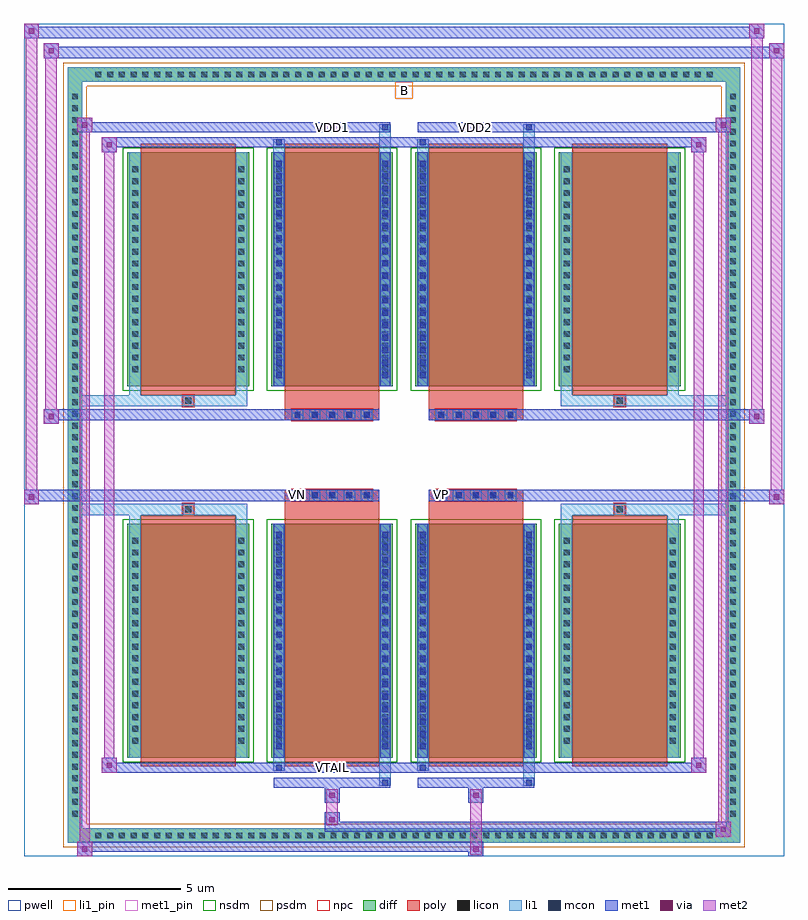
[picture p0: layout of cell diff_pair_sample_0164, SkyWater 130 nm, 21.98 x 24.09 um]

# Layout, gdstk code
import gdstk
lib = gdstk.Library(unit=1e-6, precision=5e-09)
def R(c, l, rs):  # rectangles x0, y0, x1, y1
    for r in rs: c.add(gdstk.rectangle(r[:2], r[2:], *l))
def A(c, l, x, y, w, h, nx, ny, dx, dy):  # array of equal rectangles
    R(c, l, [(x+i*dx, y+j*dy, x+i*dx+w, y+j*dy+h) for i in range(nx) for j in range(ny)])
def P(c, l, *ps):  # polygons
    for p in ps: c.add(gdstk.Polygon(p, *l))
pwell = (64, 44)
diff = (65, 20)
poly = (66, 20)
licon = (66, 44)
li1_pin = (67, 16)
li1 = (67, 20)
mcon = (67, 44)
met1_pin = (68, 16)
met1 = (68, 20)
via = (68, 44)
met2 = (69, 20)
nsdm = (93, 44)
psdm = (94, 20)
npc = (95, 20)

diff_pair_sample_0164 = lib.new_cell('diff_pair_sample_0164')
R(diff_pair_sample_0164, pwell, [(-10.99,-11.61,10.99,12.48), (-8.31,-9.8,-0.01,-0.8), (0.01,-9.8,8.31,-0.8), (-8.31,0.8,-0.01,9.8), (0.01,0.8,8.31,9.8)])
A(diff_pair_sample_0164, diff, -9.045, -11.21, 0.41, 0.41, 53, 2, 0.34, 22.01)
A(diff_pair_sample_0164, diff, -9.72, -10.575, 0.41, 0.41, 1, 62, 0, 0.34)
A(diff_pair_sample_0164, diff, 9.31, -10.575, 0.41, 0.41, 1, 62, 0, 0.34)
A(diff_pair_sample_0164, diff, -8, -8.755, 3.52, 6.77, 4, 2, 4.16, 10.74)
R(diff_pair_sample_0164, diff, [(-9.045,-11.21,9.045,-10.8), (-9.72,-10.575,-9.31,10.575), (9.31,-10.575,9.72,10.575), (-9.045,10.8,9.045,11.21)])
P(diff_pair_sample_0164, diff, [(9.72,11.21),(-9.72,11.21),(-9.72,-10.8),(-9.31,-10.8),(-9.31,10.8),(9.31,10.8),(9.31,-10.8),(-9.31,-10.8),(-9.72,-10.8),(-9.72,-11.21),(9.72,-11.21)])
A(diff_pair_sample_0164, poly, -7.61, -9.005, 2.74, 7.27, 4, 2, 4.16, 10.74)
A(diff_pair_sample_0164, poly, -3.245, -1.33, 0.33, 0.33, 5, 2, 0.5, 2.33)
A(diff_pair_sample_0164, poly, 0.915, -1.33, 0.33, 0.33, 5, 2, 0.5, 2.33)
R(diff_pair_sample_0164, poly, [(-6.405,-1.735,-6.075,-1.405), (-6.405,-1.735,-6.075,-1.405), (-3.45,-1.735,-0.71,-1.33), (0.71,-1.735,3.45,-1.33), (6.075,-1.735,6.405,-1.405), (6.075,-1.735,6.405,-1.405), (-3.45,-1.33,-0.71,-1), (0.71,-1.33,3.45,-1), (-3.45,1,-0.71,1.33), (0.71,1,3.45,1.33), (-3.45,1.33,-0.71,1.735), (0.71,1.33,3.45,1.735), (-6.405,1.405,-6.075,1.735), (-6.405,1.405,-6.075,1.735), (6.075,1.405,6.405,1.735), (6.075,1.405,6.405,1.735)])
A(diff_pair_sample_0164, licon, -8.925, -11.09, 0.17, 0.17, 53, 2, 0.34, 22.01)
A(diff_pair_sample_0164, licon, -9.6, -10.455, 0.17, 0.17, 1, 62, 0, 0.34)
A(diff_pair_sample_0164, licon, 9.43, -10.455, 0.17, 0.17, 1, 62, 0, 0.34)
A(diff_pair_sample_0164, licon, -7.86, -8.345, 0.17, 0.17, 1, 18, 0, 0.34)
A(diff_pair_sample_0164, licon, -4.79, -8.345, 0.17, 0.17, 1, 18, 0, 0.34)
A(diff_pair_sample_0164, licon, -3.7, -8.345, 0.17, 0.17, 1, 18, 0, 0.34)
A(diff_pair_sample_0164, licon, -0.63, -8.345, 0.17, 0.17, 1, 18, 0, 0.34)
A(diff_pair_sample_0164, licon, 0.46, -8.345, 0.17, 0.17, 1, 18, 0, 0.34)
A(diff_pair_sample_0164, licon, 3.53, -8.345, 0.17, 0.17, 1, 18, 0, 0.34)
A(diff_pair_sample_0164, licon, 4.62, -8.345, 0.17, 0.17, 1, 18, 0, 0.34)
A(diff_pair_sample_0164, licon, 7.69, -8.345, 0.17, 0.17, 1, 18, 0, 0.34)
A(diff_pair_sample_0164, licon, -3.165, -1.25, 0.17, 0.17, 5, 2, 0.5, 2.33)
A(diff_pair_sample_0164, licon, 0.995, -1.25, 0.17, 0.17, 5, 2, 0.5, 2.33)
A(diff_pair_sample_0164, licon, -7.86, 2.395, 0.17, 0.17, 1, 18, 0, 0.34)
A(diff_pair_sample_0164, licon, -4.79, 2.395, 0.17, 0.17, 1, 18, 0, 0.34)
A(diff_pair_sample_0164, licon, -3.7, 2.395, 0.17, 0.17, 1, 18, 0, 0.34)
A(diff_pair_sample_0164, licon, -0.63, 2.395, 0.17, 0.17, 1, 18, 0, 0.34)
A(diff_pair_sample_0164, licon, 0.46, 2.395, 0.17, 0.17, 1, 18, 0, 0.34)
A(diff_pair_sample_0164, licon, 3.53, 2.395, 0.17, 0.17, 1, 18, 0, 0.34)
A(diff_pair_sample_0164, licon, 4.62, 2.395, 0.17, 0.17, 1, 18, 0, 0.34)
A(diff_pair_sample_0164, licon, 7.69, 2.395, 0.17, 0.17, 1, 18, 0, 0.34)
R(diff_pair_sample_0164, licon, [(-6.325,-1.655,-6.155,-1.485), (6.155,-1.655,6.325,-1.485), (-6.325,1.485,-6.155,1.655), (6.155,1.485,6.325,1.655)])
R(diff_pair_sample_0164, li1_pin, [(-0.25,10.3,0.25,10.8)])
A(diff_pair_sample_0164, li1, -9.005, -11.17, 0.33, 0.33, 53, 2, 0.34, 22.01)
A(diff_pair_sample_0164, li1, -9.68, -10.535, 0.33, 0.33, 1, 62, 0, 0.34)
A(diff_pair_sample_0164, li1, 9.35, -10.535, 0.33, 0.33, 1, 62, 0, 0.34)
A(diff_pair_sample_0164, li1, -3.7, -8.515, 0.17, 0.17, 1, 18, 0, 0.36)
A(diff_pair_sample_0164, li1, -0.63, -8.515, 0.17, 0.17, 1, 18, 0, 0.36)
A(diff_pair_sample_0164, li1, 0.46, -8.515, 0.17, 0.17, 1, 18, 0, 0.36)
A(diff_pair_sample_0164, li1, 3.53, -8.515, 0.17, 0.17, 1, 18, 0, 0.36)
A(diff_pair_sample_0164, li1, -7.94, -8.425, 0.33, 0.33, 1, 18, 0, 0.34)
A(diff_pair_sample_0164, li1, -4.87, -8.425, 0.33, 0.33, 1, 18, 0, 0.34)
A(diff_pair_sample_0164, li1, -3.78, -8.425, 0.33, 0.33, 1, 18, 0, 0.34)
A(diff_pair_sample_0164, li1, -0.71, -8.425, 0.33, 0.33, 1, 18, 0, 0.34)
A(diff_pair_sample_0164, li1, 0.38, -8.425, 0.33, 0.33, 1, 18, 0, 0.34)
A(diff_pair_sample_0164, li1, 3.45, -8.425, 0.33, 0.33, 1, 18, 0, 0.34)
A(diff_pair_sample_0164, li1, 4.54, -8.425, 0.33, 0.33, 1, 18, 0, 0.34)
A(diff_pair_sample_0164, li1, 7.61, -8.425, 0.33, 0.33, 1, 18, 0, 0.34)
A(diff_pair_sample_0164, li1, -3.245, -1.33, 0.33, 0.33, 5, 2, 0.5, 2.33)
A(diff_pair_sample_0164, li1, 0.915, -1.33, 0.33, 0.33, 5, 2, 0.5, 2.33)
A(diff_pair_sample_0164, li1, -3.7, 2.225, 0.17, 0.17, 1, 18, 0, 0.36)
A(diff_pair_sample_0164, li1, -0.63, 2.225, 0.17, 0.17, 1, 18, 0, 0.36)
A(diff_pair_sample_0164, li1, 0.46, 2.225, 0.17, 0.17, 1, 18, 0, 0.36)
A(diff_pair_sample_0164, li1, 3.53, 2.225, 0.17, 0.17, 1, 18, 0, 0.36)
A(diff_pair_sample_0164, li1, -7.94, 2.315, 0.33, 0.33, 1, 18, 0, 0.34)
A(diff_pair_sample_0164, li1, -4.87, 2.315, 0.33, 0.33, 1, 18, 0, 0.34)
A(diff_pair_sample_0164, li1, -3.78, 2.315, 0.33, 0.33, 1, 18, 0, 0.34)
A(diff_pair_sample_0164, li1, -0.71, 2.315, 0.33, 0.33, 1, 18, 0, 0.34)
A(diff_pair_sample_0164, li1, 0.38, 2.315, 0.33, 0.33, 1, 18, 0, 0.34)
A(diff_pair_sample_0164, li1, 3.45, 2.315, 0.33, 0.33, 1, 18, 0, 0.34)
A(diff_pair_sample_0164, li1, 4.54, 2.315, 0.33, 0.33, 1, 18, 0, 0.34)
A(diff_pair_sample_0164, li1, 7.61, 2.315, 0.33, 0.33, 1, 18, 0, 0.34)
R(diff_pair_sample_0164, li1, [(-9.72,-11.21,-9.31,-10.8), (-9.72,-11.21,-9.31,-10.8), (-9.31,-11.21,9.31,-10.8), (9.31,-11.21,9.72,-10.8), (9.31,-11.21,9.72,-10.8), (-9.72,-10.8,-9.31,10.8), (9.31,-10.8,9.72,10.8), (-0.71,-9.56,-0.38,-8.755), (-0.63,-9.56,-0.46,-9.39), (3.45,-9.56,3.78,-8.755), (3.53,-9.56,3.7,-9.39), (-3.78,-9.13,-3.45,-8.755), (-3.7,-9.13,-3.53,-8.96), (0.38,-9.13,0.71,-8.755), (0.46,-9.13,0.63,-8.96), (-7.94,-8.755,-7.61,-1.985), (-4.87,-8.755,-4.54,-1.985), (-3.78,-8.755,-3.45,-1.985), (-0.71,-8.755,-0.38,-1.985), (0.38,-8.755,0.71,-1.985), (3.45,-8.755,3.78,-1.985), (4.54,-8.755,4.87,-1.985), (7.61,-8.755,7.94,-1.985), (-3.7,-8.515,-3.53,-2.225), (-0.63,-8.515,-0.46,-2.225), (0.46,-8.515,0.63,-2.225), (3.53,-8.515,3.7,-2.225), (-7.94,-1.985,-7.61,-1.405), (-4.87,-1.985,-4.54,-1.405), (4.54,-1.985,4.87,-1.405), (7.61,-1.985,7.94,-1.405), (-9.72,-1.735,-6.405,-1.405), (-7.94,-1.735,-6.405,-1.405), (-6.405,-1.735,-6.075,-1.405), (-6.075,-1.735,-4.54,-1.405), (4.54,-1.735,6.075,-1.405), (6.075,-1.735,6.405,-1.405), (6.075,-1.735,9.72,-1.405), (6.405,-1.735,7.94,-1.405), (-9.72,1.405,-6.405,1.735), (-7.94,1.405,-6.405,1.735), (-7.94,1.405,-7.61,1.985), (-6.405,1.405,-6.075,1.735), (-6.075,1.405,-4.54,1.735), (-4.87,1.405,-4.54,1.985), (4.54,1.405,6.075,1.735), (4.54,1.405,4.87,1.985), (6.075,1.405,6.405,1.735), (6.075,1.405,9.72,1.735), (6.405,1.405,7.94,1.735), (7.61,1.405,7.94,1.985), (-7.94,1.985,-7.61,8.755), (-4.87,1.985,-4.54,8.755), (-3.78,1.985,-3.45,8.755), (-0.71,1.985,-0.38,8.755), (0.38,1.985,0.71,8.755), (3.45,1.985,3.78,8.755), (4.54,1.985,4.87,8.755), (7.61,1.985,7.94,8.755), (-3.7,2.225,-3.53,8.515), (-0.63,2.225,-0.46,8.515), (0.46,2.225,0.63,8.515), (3.53,2.225,3.7,8.515), (-3.78,8.755,-3.45,9.13), (-0.71,8.755,-0.38,9.56), (0.38,8.755,0.71,9.13), (3.45,8.755,3.78,9.56), (-3.7,8.96,-3.53,9.13), (0.46,8.96,0.63,9.13), (-0.63,9.39,-0.46,9.56), (3.53,9.39,3.7,9.56), (-9.72,10.8,-9.31,11.21), (-9.72,10.8,-9.31,11.21), (-9.31,10.8,9.31,11.21), (9.31,10.8,9.72,11.21), (9.31,10.8,9.72,11.21)])
A(diff_pair_sample_0164, mcon, -3.7, -8.515, 0.17, 0.17, 1, 18, 0, 0.36)
A(diff_pair_sample_0164, mcon, -0.63, -8.515, 0.17, 0.17, 1, 18, 0, 0.36)
A(diff_pair_sample_0164, mcon, 0.46, -8.515, 0.17, 0.17, 1, 18, 0, 0.36)
A(diff_pair_sample_0164, mcon, 3.53, -8.515, 0.17, 0.17, 1, 18, 0, 0.36)
A(diff_pair_sample_0164, mcon, -3.165, -1.25, 0.17, 0.17, 5, 2, 0.5, 2.33)
A(diff_pair_sample_0164, mcon, 0.995, -1.25, 0.17, 0.17, 5, 2, 0.5, 2.33)
A(diff_pair_sample_0164, mcon, -3.7, 2.225, 0.17, 0.17, 1, 18, 0, 0.36)
A(diff_pair_sample_0164, mcon, -0.63, 2.225, 0.17, 0.17, 1, 18, 0, 0.36)
A(diff_pair_sample_0164, mcon, 0.46, 2.225, 0.17, 0.17, 1, 18, 0, 0.36)
A(diff_pair_sample_0164, mcon, 3.53, 2.225, 0.17, 0.17, 1, 18, 0, 0.36)
R(diff_pair_sample_0164, mcon, [(-0.63,-9.56,-0.46,-9.39), (3.53,-9.56,3.7,-9.39), (-3.7,-9.13,-3.53,-8.96), (0.46,-9.13,0.63,-8.96), (-3.7,8.96,-3.53,9.13), (0.46,8.96,0.63,9.13), (-0.63,9.39,-0.46,9.56), (3.53,9.39,3.7,9.56)])
R(diff_pair_sample_0164, met1_pin, [(-2.215,-9.17,-1.945,-8.9), (-3.215,-1.29,-2.945,-1.02), (0.945,-1.29,1.215,-1.02), (-2.215,9.35,-1.945,9.62), (1.945,9.35,2.215,9.62)])
A(diff_pair_sample_0164, met1, -3.76, -8.575, 0.29, 0.29, 1, 18, 0, 0.36)
A(diff_pair_sample_0164, met1, -0.69, -8.575, 0.29, 0.29, 1, 18, 0, 0.36)
A(diff_pair_sample_0164, met1, 0.4, -8.575, 0.29, 0.29, 1, 18, 0, 0.36)
A(diff_pair_sample_0164, met1, 3.47, -8.575, 0.29, 0.29, 1, 18, 0, 0.36)
A(diff_pair_sample_0164, met1, -3.225, -1.31, 0.29, 0.29, 5, 2, 0.5, 2.33)
A(diff_pair_sample_0164, met1, 0.935, -1.31, 0.29, 0.29, 5, 2, 0.5, 2.33)
A(diff_pair_sample_0164, met1, -3.76, 2.165, 0.29, 0.29, 1, 18, 0, 0.36)
A(diff_pair_sample_0164, met1, -0.69, 2.165, 0.29, 0.29, 1, 18, 0, 0.36)
A(diff_pair_sample_0164, met1, 0.4, 2.165, 0.29, 0.29, 1, 18, 0, 0.36)
A(diff_pair_sample_0164, met1, 3.47, 2.165, 0.29, 0.29, 1, 18, 0, 0.36)
R(diff_pair_sample_0164, met1, [(-9.45,-11.61,-9.02,-11.18), (1.865,-11.61,2.295,-11.18), (-9.45,-11.47,2.295,-11.18), (9.02,-11.04,9.45,-10.61), (-2.295,-10.9,9.45,-10.61), (-2.295,-10.76,-1.865,-10.33), (-2.295,-10.05,-1.865,-9.62), (1.865,-10.05,2.295,-9.62), (-3.76,-9.62,-0.4,-9.33), (-0.69,-9.62,-0.4,-9.33), (0.4,-9.62,3.76,-9.33), (3.47,-9.62,3.76,-9.33), (-8.74,-9.19,-8.31,-8.76), (-8.74,-9.19,-3.76,-8.9), (-3.76,-9.19,-3.47,-8.9), (-3.76,-9.19,-0.4,-8.9), (-0.4,-9.19,0.4,-8.9), (0.4,-9.19,0.69,-8.9), (0.4,-9.19,3.76,-8.9), (3.76,-9.19,8.74,-8.9), (8.31,-9.19,8.74,-8.76), (-3.76,-8.755,-3.47,-1.985), (-0.69,-8.755,-0.4,-1.985), (0.4,-8.755,0.69,-1.985), (3.47,-8.755,3.76,-1.985), (-10.99,-1.43,-10.56,-1), (10.56,-1.43,10.99,-1), (-10.99,-1.33,-0.71,-1), (-3.45,-1.33,-0.71,-1), (0.71,-1.33,3.45,-1), (0.71,-1.33,10.99,-1), (-10.42,0.9,-9.99,1.33), (9.99,0.9,10.42,1.33), (-10.42,1,-3.45,1.33), (-3.45,1,-0.71,1.33), (0.71,1,3.45,1.33), (3.45,1,10.42,1.33), (-3.76,1.985,-3.47,8.755), (-0.69,1.985,-0.4,8.755), (0.4,1.985,0.69,8.755), (3.47,1.985,3.76,8.755), (-8.74,8.76,-8.31,9.19), (8.31,8.76,8.74,9.19), (-8.74,8.9,-3.76,9.19), (-3.76,8.9,-3.47,9.19), (-3.76,8.9,-0.4,9.19), (-0.4,8.9,0.4,9.19), (0.4,8.9,0.69,9.19), (0.4,8.9,3.76,9.19), (3.76,8.9,8.74,9.19), (-9.45,9.33,-9.02,9.76), (-9.45,9.33,-3.76,9.62), (-3.76,9.33,-0.4,9.62), (-0.69,9.33,-0.4,9.62), (0.4,9.33,3.76,9.62), (3.47,9.33,3.76,9.62), (3.76,9.33,9.45,9.62), (9.02,9.33,9.45,9.76), (-10.42,11.48,-9.99,11.91), (-10.42,11.48,-8.31,11.81), (-8.31,11.48,8.31,11.81), (8.31,11.48,10.99,11.81), (10.56,11.48,10.99,11.91), (-10.99,12.05,-10.56,12.48), (-10.99,12.05,-8.31,12.38), (-8.31,12.05,8.31,12.38), (8.31,12.05,10.42,12.38), (9.99,12.05,10.42,12.48)])
R(diff_pair_sample_0164, via, [(-9.31,-11.47,-9.16,-11.32), (2.005,-11.47,2.155,-11.32), (9.16,-10.9,9.31,-10.75), (-2.155,-10.62,-2.005,-10.47), (-2.155,-9.91,-2.005,-9.76), (2.005,-9.91,2.155,-9.76), (-8.6,-9.05,-8.45,-8.9), (8.45,-9.05,8.6,-8.9), (-10.85,-1.29,-10.7,-1.14), (10.7,-1.29,10.85,-1.14), (-10.28,1.04,-10.13,1.19), (10.13,1.04,10.28,1.19), (-8.6,8.9,-8.45,9.05), (8.45,8.9,8.6,9.05), (-9.31,9.47,-9.16,9.62), (9.16,9.47,9.31,9.62), (-10.28,11.62,-10.13,11.77), (10.7,11.62,10.85,11.77), (-10.85,12.19,-10.7,12.34), (10.13,12.19,10.28,12.34)])
R(diff_pair_sample_0164, met2, [(-9.45,-11.61,-9.02,-11.18), (-9.38,-11.61,-9.09,9.76), (-9.09,-11.61,-9.02,-11.18), (-9.4,-11.56,-9.07,-11.23), (1.915,-11.56,2.245,-11.23), (1.915,-11.23,2.245,-10), (9.02,-11.04,9.45,-10.61), (9.09,-11.04,9.38,9.76), (9.38,-11.04,9.45,-10.61), (9.07,-10.99,9.4,-10.66), (-2.245,-10.71,-1.915,-10.38), (-2.245,-10.38,-1.915,-10), (-2.245,-10,-1.915,-9.67), (1.915,-10,2.245,-9.67), (-8.74,-9.19,-8.31,-8.76), (-8.67,-9.19,-8.38,9.19), (-8.38,-9.19,-8.31,-8.76), (8.31,-9.19,8.74,-8.76), (8.38,-9.19,8.67,9.19), (8.67,-9.19,8.74,-8.76), (-8.69,-9.14,-8.36,-8.81), (8.36,-9.14,8.69,-8.81), (-10.99,-1.43,-10.56,-1), (-10.94,-1.43,-10.61,12.48), (-10.61,-1.43,-10.56,-1), (10.56,-1.43,10.99,-1), (10.61,-1.43,10.94,11.91), (10.94,-1.43,10.99,-1), (-10.94,-1.38,-10.61,-1.05), (10.61,-1.38,10.94,-1.05), (-10.42,0.9,-9.99,1.33), (-10.37,0.9,-10.04,11.91), (-10.04,0.9,-9.99,1.33), (9.99,0.9,10.42,1.33), (10.04,0.9,10.37,12.48), (10.37,0.9,10.42,1.33), (-10.37,0.95,-10.04,1.28), (10.04,0.95,10.37,1.28), (-8.74,8.76,-8.31,9.19), (-8.38,8.76,-8.31,9.19), (8.31,8.76,8.74,9.19), (8.67,8.76,8.74,9.19), (-8.69,8.81,-8.36,9.14), (8.36,8.81,8.69,9.14), (-9.45,9.33,-9.02,9.76), (-9.09,9.33,-9.02,9.76), (9.02,9.33,9.45,9.76), (9.38,9.33,9.45,9.76), (-9.4,9.38,-9.07,9.71), (9.07,9.38,9.4,9.71), (-10.42,11.48,-9.99,11.91), (-10.04,11.48,-9.99,11.91), (10.56,11.48,10.99,11.91), (10.94,11.48,10.99,11.91), (-10.37,11.53,-10.04,11.86), (10.61,11.53,10.94,11.86), (-10.99,12.05,-10.56,12.48), (-10.61,12.05,-10.56,12.48), (9.99,12.05,10.42,12.48), (10.37,12.05,10.42,12.48), (-10.94,12.1,-10.61,12.43), (10.04,12.1,10.37,12.43)])
A(diff_pair_sample_0164, nsdm, -8.13, -8.885, 3.78, 7.03, 4, 2, 4.16, 10.74)
P(diff_pair_sample_0164, psdm, [(9.85,11.34),(-9.85,11.34),(-9.85,-10.67),(-9.18,-10.67),(-9.18,10.67),(9.18,10.67),(9.18,-10.67),(-9.18,-10.67),(-9.85,-10.67),(-9.85,-11.34),(9.85,-11.34)])
A(diff_pair_sample_0164, npc, -3.265, -1.35, 0.37, 0.37, 5, 2, 0.5, 2.33)
A(diff_pair_sample_0164, npc, 0.895, -1.35, 0.37, 0.37, 5, 2, 0.5, 2.33)
R(diff_pair_sample_0164, npc, [(-6.425,-1.755,-6.055,-1.385), (6.055,-1.755,6.425,-1.385), (-3.265,-1.35,-2.395,-0.98), (-3.265,-1.35,-2.395,-0.98), (-2.765,-1.35,-1.895,-0.98), (-2.765,-1.35,-1.895,-0.98), (-2.265,-1.35,-1.395,-0.98), (-2.265,-1.35,-1.395,-0.98), (-1.765,-1.35,-0.895,-0.98), (-1.765,-1.35,-0.895,-0.98), (0.895,-1.35,1.765,-0.98), (0.895,-1.35,1.765,-0.98), (1.395,-1.35,2.265,-0.98), (1.395,-1.35,2.265,-0.98), (1.895,-1.35,2.765,-0.98), (1.895,-1.35,2.765,-0.98), (2.395,-1.35,3.265,-0.98), (2.395,-1.35,3.265,-0.98), (-3.265,0.98,-2.395,1.35), (-3.265,0.98,-2.395,1.35), (-2.765,0.98,-1.895,1.35), (-2.765,0.98,-1.895,1.35), (-2.265,0.98,-1.395,1.35), (-2.265,0.98,-1.395,1.35), (-1.765,0.98,-0.895,1.35), (-1.765,0.98,-0.895,1.35), (0.895,0.98,1.765,1.35), (0.895,0.98,1.765,1.35), (1.395,0.98,2.265,1.35), (1.395,0.98,2.265,1.35), (1.895,0.98,2.765,1.35), (1.895,0.98,2.765,1.35), (2.395,0.98,3.265,1.35), (2.395,0.98,3.265,1.35), (-6.425,1.385,-6.055,1.755), (6.055,1.385,6.425,1.755)])
diff_pair_sample_0164.add(gdstk.Label('VTAIL', (-2.08,-9.035), layer=68, texttype=5))
diff_pair_sample_0164.add(gdstk.Label('VN', (-3.08,-1.155), layer=68, texttype=5))
diff_pair_sample_0164.add(gdstk.Label('VP', (1.08,-1.155), layer=68, texttype=5))
diff_pair_sample_0164.add(gdstk.Label('B', (0,10.55), layer=67, texttype=5))
diff_pair_sample_0164.add(gdstk.Label('VDD2', (2.08,9.485), layer=68, texttype=5))
diff_pair_sample_0164.add(gdstk.Label('VDD1', (-2.08,9.485), layer=68, texttype=5))

lib.write_gds('diff_pair_sample_0164.gds')
